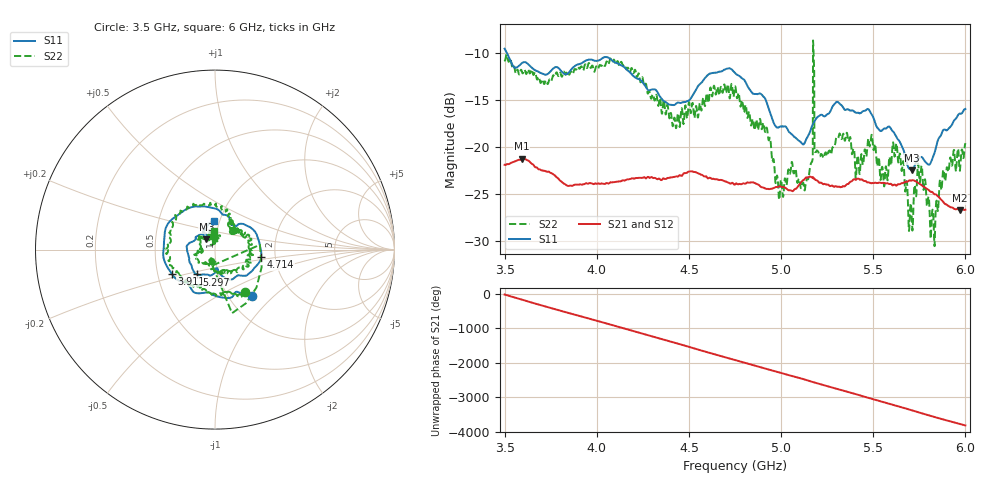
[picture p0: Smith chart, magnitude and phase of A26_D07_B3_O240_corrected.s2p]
! Created with skrf 1.9.0 (http://scikit-rf.org).
# Hz S RI R 50.0
!freq ReS11 ImS11 ReS21 ImS21 ReS12 ImS12 ReS22 ImS22
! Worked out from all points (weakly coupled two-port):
!   1601 points, 3.5 GHz to 6 GHz, reference 50 ohm
!   highest |S21| = -21.25 dB at 3.594 GHz (marker M1); lowest = -26.7 dB at 5.97 GHz (marker M2)
!   lowest |S11| = -22.5 dB at 5.711 GHz (marker M3), VSWR 1.16, Z = 45.2 + j5.27 ohm
!   |S11| at or under -10 dB: 3.512 GHz to end of sweep
!   |S22| runs from -30.5 to -8.7 dB; largest |S21 - S12| = 0.00096
!   S11 on the Smith chart (normalised r, x): 3.5 GHz: 1.27, -0.74; 3.911 GHz: 0.59, -0.17; 4.714 GHz: 1.69, -0.15; 5.297 GHz: 0.79, -0.22; 6 GHz: 0.94, +0.31
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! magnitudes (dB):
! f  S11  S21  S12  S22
! 3.5 GHz  -9.6  -21.9  -21.9  -10.8
! 3.594 GHz  -11.1  -21.2  -21.3  -12.0
! 3.911 GHz  -11.2  -24.0  -23.9  -11.6
! 3.917 GHz  -11.1  -24.0  -24.0  -11.5
! 4.334 GHz  -14.4  -23.4  -23.3  -15.7
! 4.422 GHz  -15.5  -23.2  -23.2  -16.9
! 4.714 GHz  -11.7  -23.8  -23.8  -13.6
! 4.75 GHz  -12.1  -24.0  -23.9  -13.6
! 4.914 GHz  -14.9  -24.4  -24.4  -18.4
! 5 GHz  -17.8  -24.2  -24.2  -23.5
! 5.138 GHz  -19.1  -23.2  -23.2  -23.6
! 5.159 GHz  -18.3  -23.2  -23.1  -21.9
! 5.167 GHz  -17.8  -23.2  -23.2  -21.6
! 5.297 GHz  -15.3  -24.2  -24.1  -19.2
! 5.584 GHz  -17.8  -23.9  -23.9  -21.7
! 5.634 GHz  -19.2  -24.0  -23.9  -21.5
! 5.711 GHz  -22.5  -23.5  -23.5  -28.4
! 5.753 GHz  -21.1  -23.9  -23.9  -23.8
! 5.823 GHz  -21.1  -24.8  -24.8  -26.8
! 5.872 GHz  -18.5  -25.7  -25.6  -24.4
! 5.97 GHz  -16.5  -26.7  -26.7  -22.5
! 6 GHz  -16.0  -26.7  -26.6  -19.6
